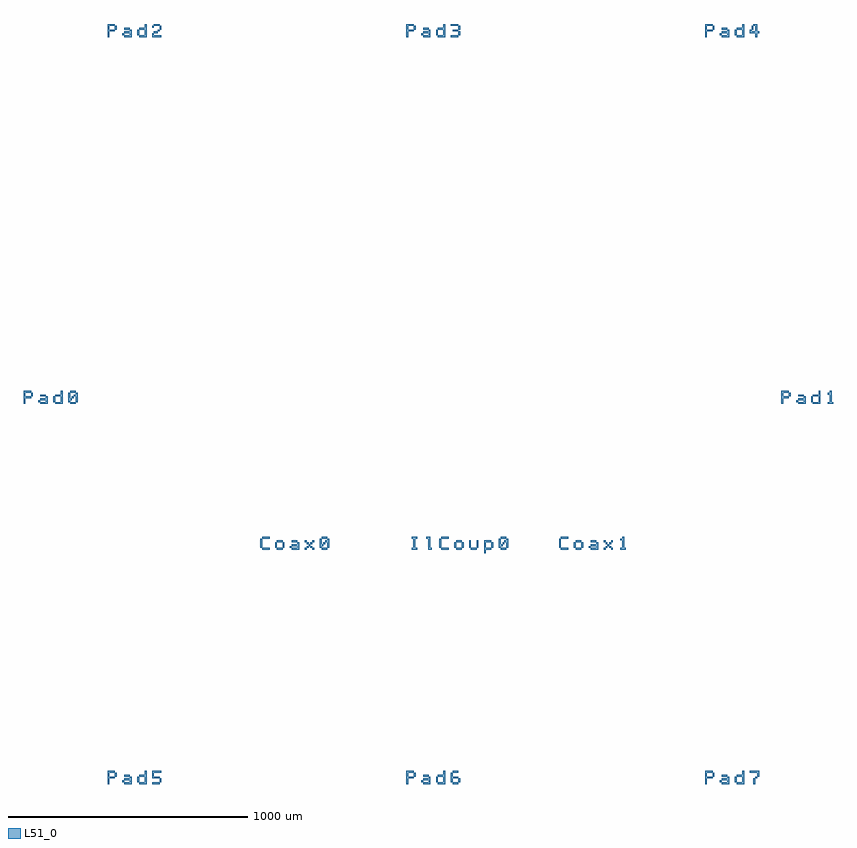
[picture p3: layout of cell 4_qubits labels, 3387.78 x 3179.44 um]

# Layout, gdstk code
import gdstk
lib = gdstk.Library(unit=1e-6, precision=1e-09)
def R(c, l, rs):  # rectangles x0, y0, x1, y1
    for r in rs: c.add(gdstk.rectangle(r[:2], r[2:], *l))
def A(c, l, x, y, w, h, nx, ny, dx, dy):  # array of equal rectangles
    R(c, l, [(x+i*dx, y+j*dy, x+i*dx+w, y+j*dy+h) for i in range(nx) for j in range(ny)])
def P(c, l, *ps):  # polygons
    for p in ps: c.add(gdstk.Polygon(p, *l))
L51_0 = (51, 0)

c_4_qubits_labels = lib.new_cell('4_qubits labels')
A(c_4_qubits_labels, L51_0, 1173.222, 793.333, 7.778, 7.778, 3, 2, 1250, 3125)
A(c_4_qubits_labels, L51_0, 1235.444, 793.333, 7.778, 23.334, 3, 2, 1250, 3125)
A(c_4_qubits_labels, L51_0, 1142.111, 816.667, 7.778, 15.555, 3, 1, 1250, 0)
A(c_4_qubits_labels, L51_0, 1181, 816.667, 23.333, 7.777, 3, 2, 1250, 3125)
R(c_4_qubits_labels, L51_0, [(1297.667,785.556,1328.778,793.333), (2555.444,785.556,2578.778,793.333), (3813.222,785.556,3821,808.889), (1328.778,793.333,1336.556,808.889), (2578.778,793.333,2586.556,808.889), (3821,808.889,3828.778,816.667), (2555.444,832.222,2578.778,840), (1757.778,1765.556,1788.889,1773.333), (1820,1765.556,1843.333,1773.333), (1936.667,1765.556,1944.444,1773.333), (1967.778,1765.556,1975.556,1773.333), (2006.667,1765.556,2030,1773.333), (2507.222,1765.556,2538.333,1773.333), (2569.444,1765.556,2592.778,1773.333), (2631.667,1765.556,2655,1773.333), (2756.111,1765.556,2779.444,1773.333), (3007.778,1765.556,3038.889,1773.333), (3070,1765.556,3093.333,1773.333), (3186.667,1765.556,3194.444,1773.333), (3217.778,1765.556,3225.556,1773.333), (1750,1773.333,1757.778,1812.222), (1812.222,1773.333,1820,1796.667), (1843.333,1773.333,1851.111,1796.667), (1874.444,1773.333,1882.222,1781.111), (1944.444,1773.333,1952.222,1781.111), (1960,1773.333,1967.778,1781.111), (2499.444,1773.333,2507.222,1812.222), (2561.667,1773.333,2569.444,1796.667), (2592.778,1773.333,2600.556,1796.667), (2623.889,1773.333,2631.667,1804.444), (2655,1773.333,2662.778,1804.444), (2717.222,1773.333,2725,1796.667), (3000,1773.333,3007.778,1812.222), (3062.222,1773.333,3070,1796.667), (3093.333,1773.333,3101.111,1796.667), (3124.444,1773.333,3132.222,1781.111), (3194.444,1773.333,3202.222,1781.111), (3210,1773.333,3217.778,1781.111), (1952.222,1781.111,1960,1788.889), (3202.222,1781.111,3210,1788.889), (1944.444,1788.889,1952.222,1796.667), (1960,1788.889,1967.778,1796.667), (2014.444,1788.889,2022.222,1796.667), (2763.889,1788.889,2771.667,1796.667), (3194.444,1788.889,3202.222,1796.667), (3210,1788.889,3217.778,1796.667), (1820,1796.667,1843.333,1804.444), (1882.222,1796.667,1905.556,1804.444), (1936.667,1796.667,1944.444,1804.444), (1967.778,1796.667,1975.556,1804.444), (2569.444,1796.667,2592.778,1804.444), (3070,1796.667,3093.333,1804.444), (3132.222,1796.667,3155.556,1804.444), (3186.667,1796.667,3194.444,1804.444), (3217.778,1796.667,3225.556,1804.444), (1757.778,1812.222,1788.889,1820), (2006.667,1812.222,2030,1820), (2507.222,1812.222,2538.333,1820), (2756.111,1812.222,2779.444,1820), (3007.778,1812.222,3038.889,1820), (954.444,2375.556,977.778,2383.333), (822.222,2383.333,830,2391.111), (884.444,2383.333,892.222,2406.667), (3992.222,2383.333,4000,2391.111), (4054.444,2383.333,4062.222,2406.667), (962.222,2398.889,970,2406.667), (791.111,2406.667,798.889,2422.222), (830,2406.667,853.333,2414.444), (3961.111,2406.667,3968.889,2422.222), (4000,2406.667,4023.333,2414.444), (954.444,2422.222,977.778,2430), (2547.667,3910.556,2578.778,3918.333), (2578.778,3918.333,2586.556,3933.889), (1305.444,3926.111,1321,3933.889), (1321,3933.889,1328.778,3941.667), (2555.444,3933.889,2578.778,3941.667), (1142.111,3941.667,1149.889,3957.222), (1328.778,3941.667,1336.556,3957.222), (2392.111,3941.667,2399.889,3957.222), (2578.778,3941.667,2586.556,3957.222), (3642.111,3941.667,3649.889,3957.222), (3805.444,3941.667,3813.222,3957.222), (1297.667,3949.444,1305.444,3957.222), (1305.444,3957.222,1328.778,3965), (2547.667,3957.222,2578.778,3965)])
P(c_4_qubits_labels, L51_0, [(760,2375.556),(767.778,2375.556),(767.778,2398.889),(791.111,2398.889),(791.111,2406.667),(767.778,2406.667),(767.778,2422.222),(791.111,2422.222),(791.111,2430),(760,2430)],
  [(830,2375.556),(861.111,2375.556),(861.111,2406.667),(853.333,2406.667),(853.333,2398.889),(830,2398.889),(830,2391.111),(853.333,2391.111),(853.333,2383.333),(830,2383.333)],
  [(892.222,2375.556),(923.333,2375.556),(923.333,2430),(915.556,2430),(915.556,2414.444),(892.222,2414.444),(892.222,2406.667),(915.556,2406.667),(915.556,2383.333),(892.222,2383.333)],
  [(946.667,2383.333),(954.444,2383.333),(954.444,2391.111),(962.222,2391.111),(962.222,2398.889),(954.444,2398.889),(954.444,2422.222),(946.667,2422.222)],
  [(970,2406.667),(977.778,2406.667),(977.778,2383.333),(985.556,2383.333),(985.556,2422.222),(977.778,2422.222),(977.778,2414.444),(970,2414.444)],
  [(3930,2375.556),(3937.778,2375.556),(3937.778,2398.889),(3961.111,2398.889),(3961.111,2406.667),(3937.778,2406.667),(3937.778,2422.222),(3961.111,2422.222),(3961.111,2430),(3930,2430)],
  [(4000,2375.556),(4031.111,2375.556),(4031.111,2406.667),(4023.333,2406.667),(4023.333,2398.889),(4000,2398.889),(4000,2391.111),(4023.333,2391.111),(4023.333,2383.333),(4000,2383.333)],
  [(4062.222,2375.556),(4093.333,2375.556),(4093.333,2430),(4085.556,2430),(4085.556,2414.444),(4062.222,2414.444),(4062.222,2406.667),(4085.556,2406.667),(4085.556,2383.333),(4062.222,2383.333)],
  [(4124.444,2375.556),(4147.778,2375.556),(4147.778,2383.333),(4140,2383.333),(4140,2430),(4132.222,2430),(4132.222,2422.222),(4124.444,2422.222),(4124.444,2414.444),(4132.222,2414.444),(4132.222,2383.333),(4124.444,2383.333)],
  [(1111,3910.556),(1118.778,3910.556),(1118.778,3933.889),(1142.111,3933.889),(1142.111,3941.667),(1118.778,3941.667),(1118.778,3957.222),(1142.111,3957.222),(1142.111,3965),(1111,3965)],
  [(1181,3910.556),(1212.111,3910.556),(1212.111,3941.667),(1204.333,3941.667),(1204.333,3933.889),(1181,3933.889),(1181,3926.111),(1204.333,3926.111),(1204.333,3918.333),(1181,3918.333)],
  [(1243.222,3910.556),(1274.333,3910.556),(1274.333,3965),(1266.556,3965),(1266.556,3949.444),(1243.222,3949.444),(1243.222,3941.667),(1266.556,3941.667),(1266.556,3918.333),(1243.222,3918.333)],
  [(1297.667,3910.556),(1336.556,3910.556),(1336.556,3918.333),(1305.444,3918.333),(1305.444,3926.111),(1297.667,3926.111)],
  [(2361,3910.556),(2368.778,3910.556),(2368.778,3933.889),(2392.111,3933.889),(2392.111,3941.667),(2368.778,3941.667),(2368.778,3957.222),(2392.111,3957.222),(2392.111,3965),(2361,3965)],
  [(2431,3910.556),(2462.111,3910.556),(2462.111,3941.667),(2454.333,3941.667),(2454.333,3933.889),(2431,3933.889),(2431,3926.111),(2454.333,3926.111),(2454.333,3918.333),(2431,3918.333)],
  [(2493.222,3910.556),(2524.333,3910.556),(2524.333,3965),(2516.556,3965),(2516.556,3949.444),(2493.222,3949.444),(2493.222,3941.667),(2516.556,3941.667),(2516.556,3918.333),(2493.222,3918.333)],
  [(3611,3910.556),(3618.778,3910.556),(3618.778,3933.889),(3642.111,3933.889),(3642.111,3941.667),(3618.778,3941.667),(3618.778,3957.222),(3642.111,3957.222),(3642.111,3965),(3611,3965)],
  [(3681,3910.556),(3712.111,3910.556),(3712.111,3941.667),(3704.333,3941.667),(3704.333,3933.889),(3681,3933.889),(3681,3926.111),(3704.333,3926.111),(3704.333,3918.333),(3681,3918.333)],
  [(3743.222,3910.556),(3774.333,3910.556),(3774.333,3965),(3766.556,3965),(3766.556,3949.444),(3743.222,3949.444),(3743.222,3941.667),(3766.556,3941.667),(3766.556,3918.333),(3743.222,3918.333)],
  [(3797.667,3926.111),(3821,3926.111),(3821,3910.556),(3828.778,3910.556),(3828.778,3926.111),(3836.556,3926.111),(3836.556,3933.889),(3828.778,3933.889),(3828.778,3965),(3813.222,3965),(3813.222,3957.222),(3821,3957.222),(3821,3933.889),(3805.444,3933.889),(3805.444,3941.667),(3797.667,3941.667)],
  [(1111,785.556),(1118.778,785.556),(1118.778,808.889),(1142.111,808.889),(1142.111,816.667),(1118.778,816.667),(1118.778,832.222),(1142.111,832.222),(1142.111,840),(1111,840)],
  [(1181,785.556),(1212.111,785.556),(1212.111,816.667),(1204.333,816.667),(1204.333,808.889),(1181,808.889),(1181,801.111),(1204.333,801.111),(1204.333,793.333),(1181,793.333)],
  [(1243.222,785.556),(1274.333,785.556),(1274.333,840),(1266.556,840),(1266.556,824.444),(1243.222,824.444),(1243.222,816.667),(1266.556,816.667),(1266.556,793.333),(1243.222,793.333)],
  [(1297.667,808.889),(1328.778,808.889),(1328.778,816.667),(1305.444,816.667),(1305.444,832.222),(1336.556,832.222),(1336.556,840),(1297.667,840)],
  [(2361,785.556),(2368.778,785.556),(2368.778,808.889),(2392.111,808.889),(2392.111,816.667),(2368.778,816.667),(2368.778,832.222),(2392.111,832.222),(2392.111,840),(2361,840)],
  [(2431,785.556),(2462.111,785.556),(2462.111,816.667),(2454.333,816.667),(2454.333,808.889),(2431,808.889),(2431,801.111),(2454.333,801.111),(2454.333,793.333),(2431,793.333)],
  [(2493.222,785.556),(2524.333,785.556),(2524.333,840),(2516.556,840),(2516.556,824.444),(2493.222,824.444),(2493.222,816.667),(2516.556,816.667),(2516.556,793.333),(2493.222,793.333)],
  [(2547.667,793.333),(2555.444,793.333),(2555.444,808.889),(2578.778,808.889),(2578.778,816.667),(2555.444,816.667),(2555.444,832.222),(2547.667,832.222)],
  [(3611,785.556),(3618.778,785.556),(3618.778,808.889),(3642.111,808.889),(3642.111,816.667),(3618.778,816.667),(3618.778,832.222),(3642.111,832.222),(3642.111,840),(3611,840)],
  [(3681,785.556),(3712.111,785.556),(3712.111,816.667),(3704.333,816.667),(3704.333,808.889),(3681,808.889),(3681,801.111),(3704.333,801.111),(3704.333,793.333),(3681,793.333)],
  [(3743.222,785.556),(3774.333,785.556),(3774.333,840),(3766.556,840),(3766.556,824.444),(3743.222,824.444),(3743.222,816.667),(3766.556,816.667),(3766.556,793.333),(3743.222,793.333)],
  [(3797.667,832.222),(3828.778,832.222),(3828.778,816.667),(3836.556,816.667),(3836.556,840),(3797.667,840)],
  [(1882.222,1765.556),(1913.333,1765.556),(1913.333,1796.667),(1905.556,1796.667),(1905.556,1788.889),(1882.222,1788.889),(1882.222,1781.111),(1905.556,1781.111),(1905.556,1773.333),(1882.222,1773.333)],
  [(1998.889,1773.333),(2006.667,1773.333),(2006.667,1781.111),(2014.444,1781.111),(2014.444,1788.889),(2006.667,1788.889),(2006.667,1812.222),(1998.889,1812.222)],
  [(2022.222,1796.667),(2030,1796.667),(2030,1773.333),(2037.778,1773.333),(2037.778,1812.222),(2030,1812.222),(2030,1804.444),(2022.222,1804.444)],
  [(3132.222,1765.556),(3163.333,1765.556),(3163.333,1796.667),(3155.556,1796.667),(3155.556,1788.889),(3132.222,1788.889),(3132.222,1781.111),(3155.556,1781.111),(3155.556,1773.333),(3132.222,1773.333)],
  [(3256.667,1765.556),(3280,1765.556),(3280,1773.333),(3272.222,1773.333),(3272.222,1820),(3264.444,1820),(3264.444,1812.222),(3256.667,1812.222),(3256.667,1804.444),(3264.444,1804.444),(3264.444,1773.333),(3256.667,1773.333)],
  [(2382.778,1765.556),(2406.111,1765.556),(2406.111,1773.333),(2398.333,1773.333),(2398.333,1812.222),(2406.111,1812.222),(2406.111,1820),(2382.778,1820),(2382.778,1812.222),(2390.556,1812.222),(2390.556,1773.333),(2382.778,1773.333)],
  [(2445,1812.222),(2452.778,1812.222),(2452.778,1765.556),(2468.333,1765.556),(2468.333,1773.333),(2460.556,1773.333),(2460.556,1820),(2445,1820)],
  [(2686.111,1750),(2693.889,1750),(2693.889,1765.556),(2717.222,1765.556),(2717.222,1773.333),(2693.889,1773.333),(2693.889,1796.667),(2717.222,1796.667),(2717.222,1804.444),(2686.111,1804.444)],
  [(2748.333,1773.333),(2756.111,1773.333),(2756.111,1781.111),(2763.889,1781.111),(2763.889,1788.889),(2756.111,1788.889),(2756.111,1812.222),(2748.333,1812.222)],
  [(2771.667,1796.667),(2779.444,1796.667),(2779.444,1773.333),(2787.222,1773.333),(2787.222,1812.222),(2779.444,1812.222),(2779.444,1804.444),(2771.667,1804.444)])

lib.write_gds('4_qubits_labels.gds')
